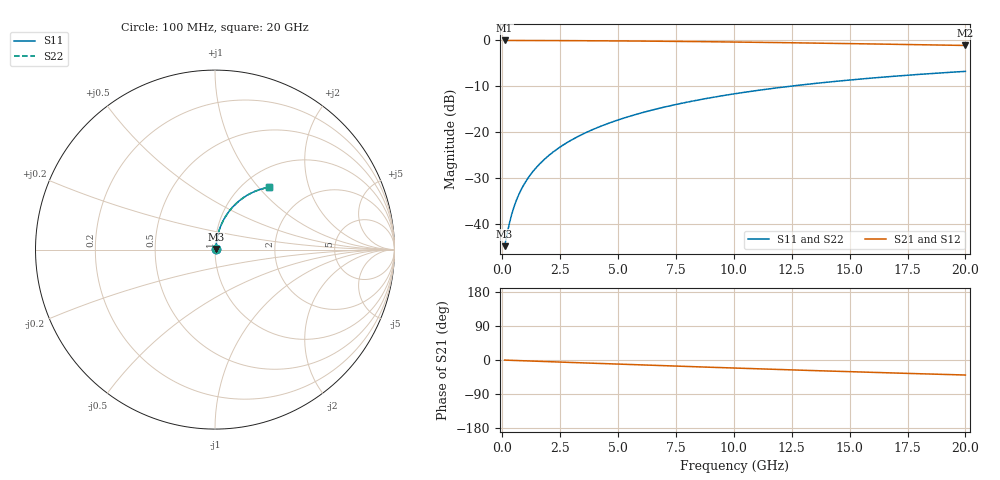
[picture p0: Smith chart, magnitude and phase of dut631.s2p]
! Touchstone file exported from HFSS 2026.1.0
!  File:  C:/ffzhzh/LocalFiles/Ansys_Project_Files/temp_train_BSMRDL_631_1783016591_55676.aedt
!  Generated:  02:24:35 AM Jul  3, 2026
!  Design:  BSMRDL
!  Project:  temp_train_BSMRDL_631_1783016591_55676
! Variables:
!  h_bsmrdl = 2.14um
!  h_ox = 20um
!  h_rdl = 5um
!  h_sub = 80um
!  h_tmrdl = 5um
!  h_tsv = 80um
!  h_via = 3um
!  l_bsmrdl = 481.6um
!  l_sub = 881.6um
!  l_tmrdl = 200um
!  m_sub = 200um
!  pitch = 57.32um
!  r_tsv = 6um
!  s_tmrdl = 10um
!  w_bsmrdl = 16.66um
!  w_sub = 500um
!  w_tmrdl = 12um
!  x_tsv_center1 = 206um
!  x_tsv_center2 = 704.26um
!  x_tsv_center3 = 916.26um
!  x_tsv_center4 = 1414.52um
!  x_tsv_center5 = 1626.52um
!  x_tsv_center6 = 2124.78um
# GHz S MA R 50.000000
! Terminal data exported
! Port[1] = BSM_RDL1_1_T1
! Port[2] = BSM_RDL1_1_T2
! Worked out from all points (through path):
!   200 points, 100 MHz to 20 GHz, reference 50 ohm
!   highest |S21| = -0.04 dB at 100 MHz (marker M1); lowest = -1.1 dB at 20 GHz (marker M2)
!   group delay of S21, straight-line fit = 5.53 ps
!   lowest |S11| = -44.7 dB at 100 MHz (marker M3), VSWR 1.01, Z = 50.5 + j0.293 ohm
!   |S11| at or under -10 dB: start of sweep to 12.41 GHz
!   |S22| runs from -44.7 to -6.8 dB; largest |S21 - S12| = 3.8e-15
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0.1  0.005806 30.0  0.995 -0.2  0.995 -0.2  0.005806 30.0
! Gamma 0 0 0 0
! Port Impedance 50 0 50 0
0.3  0.01013 58.7  0.9948 -0.7  0.9948 -0.7  0.01013 58.7
0.4  0.01271 64.7  0.9947 -0.9  0.9947 -0.9  0.01271 64.7
0.5  0.01537 68.5  0.9945 -1.1  0.9945 -1.1  0.01537 68.5
0.6  0.01805 71.0  0.9944 -1.3  0.9944 -1.3  0.01805 71.0
0.8  0.02345 74.2  0.9941 -1.8  0.9941 -1.8  0.02345 74.2
1.1  0.03154 76.8  0.9936 -2.4  0.9936 -2.4  0.03154 76.8
1.5  0.04234 78.4  0.993 -3.3  0.993 -3.3  0.04234 78.4
1.8  0.05045 79.0  0.9925 -4.0  0.9925 -4.0  0.05045 79.0
2.1  0.05856 79.2  0.992 -4.6  0.992 -4.6  0.05856 79.2
2.7  0.07478 79.2  0.9908 -5.9  0.9908 -5.9  0.07478 79.2
3.5  0.09634 78.5  0.9888 -7.6  0.9888 -7.6  0.09634 78.5
4.2  0.1151 77.6  0.9867 -9.1  0.9867 -9.1  0.1151 77.5
5  0.1363 76.3  0.9838 -10.8  0.9838 -10.8  0.1363 76.3
5.9  0.1598 74.7  0.9801 -12.7  0.9801 -12.7  0.1598 74.7
6.8  0.183 73.1  0.9759 -14.6  0.9759 -14.6  0.183 73.1
8.3  0.2206 70.3  0.9678 -17.7  0.9678 -17.7  0.2206 70.3
10.1  0.2639 66.9  0.9565 -21.4  0.9565 -21.4  0.2639 66.8
11.7  0.3005 63.8  0.9453 -24.6  0.9453 -24.6  0.3005 63.8
13.4  0.3373 60.7  0.9325 -27.8  0.9325 -27.8  0.3374 60.6
16.7  0.4025 54.7  0.9057 -33.9  0.9057 -33.9  0.4026 54.7
20  0.4594 49.1  0.878 -39.6  0.878 -39.6  0.4594 49.1
